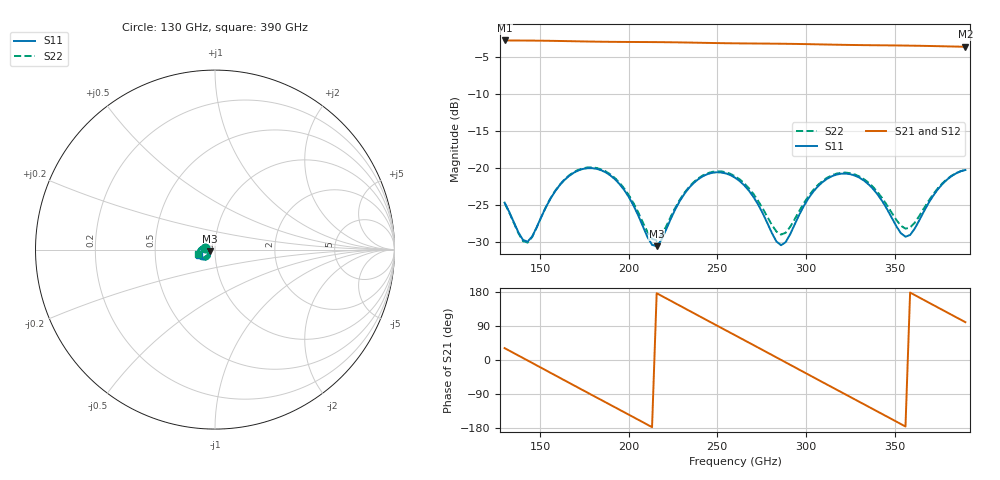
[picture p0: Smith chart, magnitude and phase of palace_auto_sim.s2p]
#  GHZ S DB R 50
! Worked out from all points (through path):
!   101 points, 130 GHz to 390 GHz, reference 50 ohm
!   highest |S21| = -2.77 dB at 130 GHz (marker M1); lowest = -3.6 dB at 390 GHz (marker M2)
!   group delay of S21, straight-line fit = 6.96 ps
!   lowest |S11| = -30.6 dB at 215.8 GHz (marker M3), VSWR 1.06, Z = 47.3 - j0.903 ohm
!   |S11| at or under -10 dB: start of sweep to end of sweep
!   |S22| runs from -30.1 to -20.0 dB; largest |S21 - S12| = 8.2e-14
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130  -24.72 173.0  -2.77 31.3  -2.77 31.3  -24.77 172.8
143  -30.00 -153.8  -2.79 -1.3  -2.79 -1.3  -30.13 -152.7
156  -24.14 -128.7  -2.82 -34.0  -2.82 -34.0  -24.09 -127.5
174.2  -20.16 -155.2  -2.90 -79.7  -2.90 -79.7  -20.07 -153.9
192.4  -21.59 172.9  -2.96 -125.1  -2.96 -125.1  -21.43 174.8
205.4  -26.46 162.6  -2.98 -157.6  -2.98 -157.6  -26.05 165.3
215.8  -30.61 -161.1  -3.00 176.2  -3.00 176.2  -29.83 -161.8
218.4  -29.80 -148.2  -3.00 169.7  -3.00 169.7  -29.18 -150.1
231.4  -23.55 -137.4  -3.05 137.0  -3.05 137.0  -23.40 -138.3
241.8  -21.16 -151.9  -3.09 110.9  -3.09 110.9  -21.04 -151.7
260  -21.34 177.3  -3.16 65.4  -3.16 65.4  -21.14 179.0
273  -24.96 162.6  -3.19 32.9  -3.19 32.9  -24.46 165.8
286  -30.48 -167.6  -3.22 0.3  -3.22 0.3  -29.04 -169.0
304.2  -23.22 -140.1  -3.29 -45.5  -3.29 -45.5  -23.00 -143.9
314.6  -21.15 -154.5  -3.34 -71.5  -3.34 -71.5  -21.02 -156.9
325  -20.87 -171.4  -3.38 -97.5  -3.38 -97.5  -20.73 -172.7
335.4  -22.26 173.4  -3.41 -123.4  -3.41 -123.4  -22.03 173.1
348.4  -26.75 169.0  -3.44 -155.9  -3.44 -155.9  -26.08 169.5
356.2  -29.33 -167.7  -3.47 -175.5  -3.47 -175.5  -28.24 -170.7
366.6  -25.91 -138.4  -3.51 158.4  -3.51 158.4  -25.49 -144.9
379.6  -21.61 -146.0  -3.57 125.8  -3.57 125.8  -21.54 -151.1
390  -20.30 -161.3  -3.63 99.8  -3.63 99.8  -20.29 -165.6
